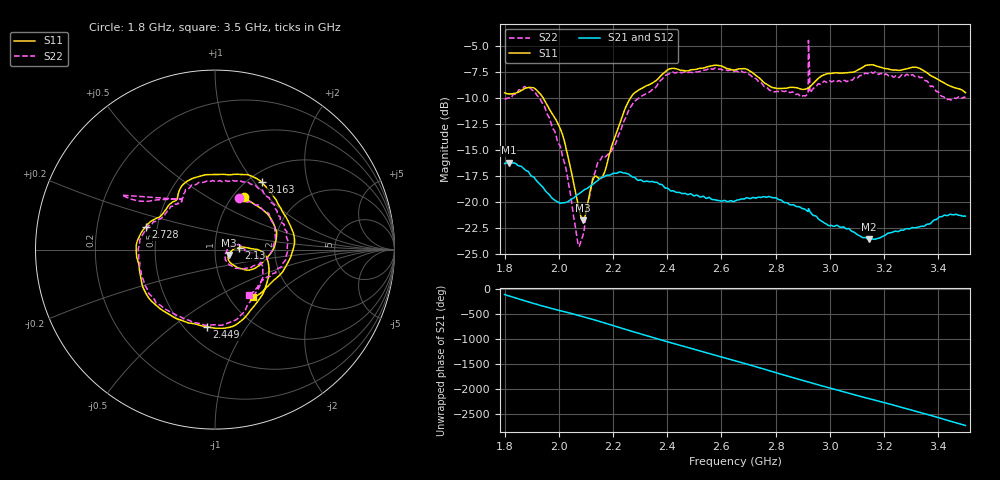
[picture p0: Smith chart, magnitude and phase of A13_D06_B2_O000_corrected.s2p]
! Created with skrf 1.9.0 (http://scikit-rf.org).
# Hz S RI R 50.0
!freq ReS11 ImS11 ReS21 ImS21 ReS12 ImS12 ReS22 ImS22
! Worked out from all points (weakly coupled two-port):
!   1601 points, 1.8 GHz to 3.5 GHz, reference 50 ohm
!   highest |S21| = -16.18 dB at 1.815 GHz (marker M1); lowest = -23.6 dB at 3.143 GHz (marker M2)
!   lowest |S11| = -21.7 dB at 2.09 GHz (marker M3), VSWR 1.18, Z = 58.2 - j3.5 ohm
!   |S11| at or under -10 dB: 1.943 GHz to 2.264 GHz (320.3 MHz wide, 15.2 % of centre)
!   |S22| runs from -24.2 to -4.4 dB; largest |S21 - S12| = 0.0026
!   S11 on the Smith chart (normalised r, x): 1.8 GHz: 1.12, +0.75; 2.13 GHz: 1.30, +0.02; 2.449 GHz: 0.64, -0.67; 2.728 GHz: 0.43, +0.13; 3.163 GHz: 1.15, +1.09; 3.5 GHz: 1.28, -0.76
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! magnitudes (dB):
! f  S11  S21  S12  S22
! 1.8 GHz  -9.5  -16.3  -16.3  -10.0
! 1.815 GHz  -9.6  -16.2  -16.2  -10.0
! 1.881 GHz  -9.0  -17.0  -17.0  -9.0
! 1.942 GHz  -10.0  -18.6  -18.6  -10.6
! 2.014 GHz  -13.5  -20.0  -20.1  -15.6
! 2.068 GHz  -19.8  -19.3  -19.3  -23.6
! 2.084 GHz  -21.5  -19.0  -19.0  -23.6
! 2.09 GHz  -21.7  -18.9  -18.9  -23.1
! 2.13 GHz  -17.6  -18.2  -18.1  -17.3
! 2.166 GHz  -17.3  -17.6  -17.5  -15.5
! 2.265 GHz  -9.9  -17.5  -17.4  -10.8
! 2.367 GHz  -8.1  -18.2  -18.1  -8.5
! 2.449 GHz  -7.3  -19.1  -19.1  -7.5
! 2.65 GHz  -7.3  -19.9  -19.8  -7.4
! 2.728 GHz  -7.8  -19.6  -19.6  -8.1
! 2.934 GHz  -8.7  -21.1  -21.1  -9.2
! 3.143 GHz  -6.8  -23.6  -23.5  -7.6
! 3.163 GHz  -6.8  -23.6  -23.5  -7.5
! 3.217 GHz  -7.2  -22.9  -22.9  -7.8
! 3.325 GHz  -7.0  -22.4  -22.4  -7.9
! 3.43 GHz  -8.6  -21.3  -21.2  -10.1
! 3.5 GHz  -9.4  -21.3  -21.3  -9.9
